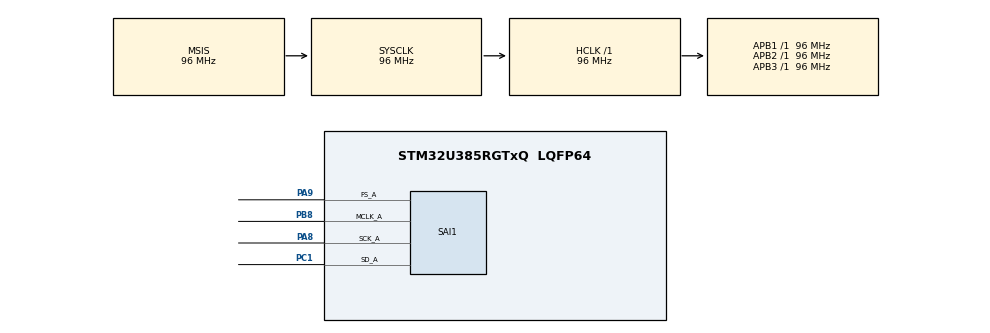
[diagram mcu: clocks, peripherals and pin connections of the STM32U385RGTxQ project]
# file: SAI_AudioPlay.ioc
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CORTEX_M33_NS.userName=CORTEX_M33
GPDMA1.CIRCULARMODE_GPDMACH0=ENABLE
GPDMA1.DESTDATAWIDTH_GPDMACH0=DMA_DEST_DATAWIDTH_HALFWORD
GPDMA1.DIRECTION_GPDMACH0=DMA_MEMORY_TO_PERIPH
GPDMA1.DMAHANDLE_GPDMACH0=hdmatx
GPDMA1.IPHANDLE_GPDMACH0-SIMPLEREQUEST_GPDMACH0=__NULL
GPDMA1.PRIORITY_LL_CIRCULAR_GPDMACH0=DMA_LOW_PRIORITY_HIGH_WEIGHT
GPDMA1.REQUEST_GPDMACH0=GPDMA1_REQUEST_SAI1_A
GPDMA1.SRCDATAWIDTH_GPDMACH0=DMA_SRC_DATAWIDTH_HALFWORD
GPDMA1.SRCINC_GPDMACH0=DMA_SINC_INCREMENTED
GPDMA1.TRANSFERALLOCATEDPORTDEST_GPDMACH0=DMA_DEST_ALLOCATED_PORT1
Mcu.Family=STM32U3
Mcu.Name=STM32U385RGTxQ
Mcu.Package=LQFP64
NVIC.GPDMA1_Channel0_IRQn=true\:0\:0\:false\:false\:true\:false\:true\:true
NVIC.PriorityGroup=NVIC_PRIORITYGROUP_4
NVIC.SAI1_IRQn=true\:0\:0\:false\:false\:true\:true\:true\:true
PA8.GPIO_PuPd=GPIO_PULLDOWN
PA8.GPIO_Speed=GPIO_SPEED_FREQ_HIGH
PA8.Mode=SAI_A_MasterWithClock
PA8.Signal=SAI1_SCK_A
PA9.GPIO_PuPd=GPIO_PULLDOWN
PA9.GPIO_Speed=GPIO_SPEED_FREQ_HIGH
PA9.Mode=SAI_A_MasterWithClock
PA9.Signal=SAI1_FS_A
PB8.GPIO_PuPd=GPIO_PULLDOWN
PB8.GPIO_Speed=GPIO_SPEED_FREQ_HIGH
PB8.Mode=SAI_A_MasterWithClock
PB8.Signal=SAI1_MCLK_A
PC1.GPIO_PuPd=GPIO_PULLDOWN
PC1.GPIO_Speed=GPIO_SPEED_FREQ_HIGH
PC1.Mode=SAI_A_MasterWithClock
PC1.Signal=SAI1_SD_A
ProjectManager.HeapSize=0x200
ProjectManager.StackSize=0x400
ProjectManager.TargetToolchain=EWARM V9.20
RCC.ADCFreq_Value=96000000
RCC.AHBFreq_Value=96000000
RCC.APB1Freq_Value=96000000
RCC.APB1TimFreq_Value=96000000
RCC.APB2Freq_Value=96000000
RCC.APB2TimFreq_Value=96000000
RCC.APB3Freq_Value=96000000
RCC.CortexFreq_Value=12000000
RCC.HCLKFreq_Value=96000000
RCC.HSE_VALUE=16000000
RCC.HSI48_VALUE=48000000
RCC.HSI_VALUE=16000000
RCC.LSE_VALUE=32768
RCC.LSIDIV_VALUE=32000
RCC.MSIKDIV=RCC_MSI_DIV8
RCC.MSISDIV=RCC_MSI_DIV1
RCC.SYSCLKFreq_VALUE=96000000
RCC.USBFreq_Value=96000000
SAI1.ActiveFrameLength-SAI_A_MasterWithClock=16
SAI1.AudioFrequency-SAI_A_MasterWithClock=SAI_AUDIO_FREQUENCY_44K
SAI1.DataSize-SAI_A_MasterWithClock=SAI_DATASIZE_16
SAI1.ErrorAudioFreq-SAI_A_MasterWithClock=6.29 %
SAI1.FIFOThreshold-SAI_A_MasterWithClock=SAI_FIFOTHRESHOLD_1QF
SAI1.FSDefinition-SAI_A_MasterWithClock=SAI_FS_CHANNEL_IDENTIFICATION
SAI1.FSOffset-SAI_A_MasterWithClock=SAI_FS_BEFOREFIRSTBIT
SAI1.FrameLength-SAI_A_MasterWithClock=32
SAI1.Instance-SAI_A_MasterWithClock=SAI$Index_Block_A
SAI1.MckOutput-SAI_A_MasterWithClock=SAI_MCK_OUTPUT_ENABLE
SAI1.RealAudioFreq-SAI_A_MasterWithClock=46.875 KHz
SAI1.SlotActive-SAI_A_MasterWithClock=0x0000FFFF
SAI1.SlotNumber-SAI_A_MasterWithClock=2
SAI1.VirtualMode-SAI_A_MasterWithClock=VM_MASTER
SAI1.VirtualSlotActive-SAI_A_MasterWithClock=SAI_SLOTACTIVE_ALL
VP_GPDMA1_VS_GPDMACH0.Mode=SIMPLEREQUEST_GPDMACH0
VP_ICACHE_VS_ICACHE.Mode=DirectMappedCache
VP_PWR_VS_DBSignals.Mode=DisableDeadBatterySignals
VP_PWR_VS_LPOM.Mode=PowerOptimisation
VP_PWR_VS_SECSignals.Mode=Security/Privilege
board=custom

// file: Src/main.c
/* USER CODE BEGIN Header */
/**
  ******************************************************************************
  * @file           : main.c
  * @brief          : Main program body
  ******************************************************************************
  * @attention
  *
  * Copyright (c) 2024 STMicroelectronics.
  * All rights reserved.
  *
  * This software is licensed under terms that can be found in the LICENSE file
  * in the root directory of this software component.
  * If no LICENSE file comes with this software, it is provided AS-IS.
  *
  ******************************************************************************
  */
/* USER CODE END Header */
#include "main.h"

/* USER CODE BEGIN Includes */
#include "stm32u3xx_nucleo.h"
#include "stm32u3xx_nucleo_bus.h"
#include "audio.h"
#include "sta350bw.h"
/* USER CODE END Includes */

/* USER CODE BEGIN PD */
#define AUDIO_FILE_ADDRESS   0x08080000U
#define AUDIO_FILE_SIZE      0x40000U
#define PLAY_HEADER          0x2CU
#define PLAY_BUFF_SIZE       3528U

#define SAT350BW_I2C_ADDRESS (uint8_t) 0x38U
/* USER CODE END PD */

SAI_HandleTypeDef hsai_BlockA1;
DMA_NodeTypeDef Node_GPDMA1_Channel0;
DMA_QListTypeDef List_GPDMA1_Channel0;
DMA_HandleTypeDef handle_GPDMA1_Channel0;

/* USER CODE BEGIN PV */
/* 40ms of PCM stereo data at 44.1KHz */
uint16_t PlayBuff[PLAY_BUFF_SIZE];

/* Pointer on buffer address */
__IO int16_t UpdatePointer = -1;

/* Audio component */
static AUDIO_Drv_t *AudioDrv = NULL;
void  *AudioCompObj;
/* USER CODE END PV */

void SystemClock_Config(void);
static void MX_GPIO_Init(void);
static void MX_GPDMA1_Init(void);
static void MX_ICACHE_Init(void);
static void MX_SAI1_Init(void);
/* USER CODE BEGIN PFP */
static int32_t STA350BW_Probe(void);
/* USER CODE END PFP */

int main(void)
{

  /* USER CODE BEGIN 1 */
  uint32_t i;
  uint32_t PlaybackPosition = PLAY_BUFF_SIZE + PLAY_HEADER;
  /* USER CODE END 1 */

  /* MCU Configuration--------------------------------------------------------*/

  /* Reset of all peripherals, Initializes the Flash interface and the Systick. */
  HAL_Init();

  /* Configure the system clock */
  SystemClock_Config();

  /* USER CODE BEGIN SysInit */
  if (BSP_ERROR_NONE != BSP_LED_Init(LED_GREEN))
  {
    Error_Handler();
  }

  /* Check if the audio file has been loaded in flash */
  if(*((uint64_t *)AUDIO_FILE_ADDRESS) != 0x0003FFF846464952 )
  {
    Error_Handler();
  }
  /* USER CODE END SysInit */

  /* Initialize all configured peripherals */
  MX_GPIO_Init();
  MX_GPDMA1_Init();
  MX_ICACHE_Init();
  MX_SAI1_Init();
  /* USER CODE BEGIN 2 */
  /* Probe audio compoanent */
  if (STA350BW_Probe() != BSP_ERROR_NONE)
  {
    Error_Handler();
  }

  /* Initialize the codec internal registers */
  if (AudioDrv->Init(AudioCompObj, NULL) < 0)
  {
    Error_Handler();
  }

  /* Set frequency on audio codec */
  if (AudioDrv->SetFrequency(AudioCompObj, 44100U) < 0)
  {
    Error_Handler();
  }

  /* Initialize the data buffer */
  for(int i=0; i < PLAY_BUFF_SIZE; i+=2)
  {
    PlayBuff[i]=*((__IO uint16_t *)(AUDIO_FILE_ADDRESS + PLAY_HEADER + i));
  }

  /* Start SAI transmit */
  if(HAL_OK != HAL_SAI_Transmit_DMA(&hsai_BlockA1, (uint8_t *)PlayBuff, PLAY_BUFF_SIZE))
  {
    Error_Handler();
  }
  /* USER CODE END 2 */

  /* Infinite loop */
  /* USER CODE BEGIN WHILE */
  while (1)
  {
    /* Wait a callback event */
    while (UpdatePointer == -1);

    int position = UpdatePointer;
    UpdatePointer = -1;

    /* Update the first or the second part of the buffer */
    for (i = 0; i < PLAY_BUFF_SIZE/2; i++)
    {
      PlayBuff[i+position] = *(uint16_t *)(AUDIO_FILE_ADDRESS + PlaybackPosition);
      PlaybackPosition+=2;
    }

    /* check the end of the file */
    if ((PlaybackPosition + PLAY_BUFF_SIZE/2) > AUDIO_FILE_SIZE)
    {
      PlaybackPosition = PLAY_HEADER;
    }

    if(UpdatePointer != -1)
    {
      /* Buffer update time is too long compare to the data transfer time */
      Error_Handler();
    }
    /* USER CODE END WHILE */

  }
}

void SystemClock_Config(void)
{
  RCC_OscInitTypeDef RCC_OscInitStruct = {0};
  RCC_ClkInitTypeDef RCC_ClkInitStruct = {0};

  /** Enable Epod Booster
  */
  if (HAL_RCCEx_EpodBoosterClkConfig(RCC_EPODBOOSTER_SOURCE_MSIS, RCC_EPODBOOSTER_DIV1) != HAL_OK)
  {
    Error_Handler();
  }

  if (HAL_PWREx_EnableEpodBooster() != HAL_OK)
  {
    Error_Handler();
  }

  /** Configure the main internal regulator output voltage
  */
  if (HAL_PWREx_ControlVoltageScaling(PWR_REGULATOR_VOLTAGE_SCALE1) != HAL_OK)
  {
    Error_Handler();
  }

  /** Set Flash latency before increasing MSIS
  */
  __HAL_FLASH_SET_LATENCY(FLASH_LATENCY_2);

  /** Initializes the CPU, AHB and APB buses clocks
  */
  RCC_OscInitStruct.OscillatorType = RCC_OSCILLATORTYPE_MSIS|RCC_OSCILLATORTYPE_MSIK;
  RCC_OscInitStruct.MSISState = RCC_MSI_ON;
  RCC_OscInitStruct.MSISSource = RCC_MSI_RC0;
  RCC_OscInitStruct.MSISDiv = RCC_MSI_DIV1;
  RCC_OscInitStruct.MSIKState = RCC_MSI_ON;
  RCC_OscInitStruct.MSIKSource = RCC_MSI_RC0;
  RCC_OscInitStruct.MSIKDiv = RCC_MSI_DIV8;

  if (HAL_RCC_OscConfig(&RCC_OscInitStruct) != HAL_OK)
  {
    Error_Handler();
  }

  /** Initializes the CPU, AHB and APB buses clocks
  */
  RCC_ClkInitStruct.ClockType = RCC_CLOCKTYPE_HCLK|RCC_CLOCKTYPE_SYSCLK
                              |RCC_CLOCKTYPE_PCLK1|RCC_CLOCKTYPE_PCLK2
                              |RCC_CLOCKTYPE_PCLK3;
  RCC_ClkInitStruct.SYSCLKSource = RCC_SYSCLKSOURCE_MSIS;
  RCC_ClkInitStruct.AHBCLKDivider = RCC_SYSCLK_DIV1;
  RCC_ClkInitStruct.APB1CLKDivider = RCC_HCLK_DIV1;
  RCC_ClkInitStruct.APB2CLKDivider = RCC_HCLK_DIV1;
  RCC_ClkInitStruct.APB3CLKDivider = RCC_HCLK_DIV1;

  if (HAL_RCC_ClockConfig(&RCC_ClkInitStruct, FLASH_LATENCY_2) != HAL_OK)
  {
    Error_Handler();
  }
}

static void MX_GPDMA1_Init(void)
{

  /* Peripheral clock enable */
  __HAL_RCC_GPDMA1_CLK_ENABLE();

  /* GPDMA1 interrupt Init */
    HAL_NVIC_SetPriority(GPDMA1_Channel0_IRQn, 0, 0);
    HAL_NVIC_EnableIRQ(GPDMA1_Channel0_IRQn);

}

static void MX_ICACHE_Init(void)
{

  /** Enable instruction cache in 1-way (direct mapped cache)
  */
  if (HAL_ICACHE_ConfigAssociativityMode(ICACHE_1WAY) != HAL_OK)
  {
    Error_Handler();
  }
  if (HAL_ICACHE_Enable() != HAL_OK)
  {
    Error_Handler();
  }

}

static void MX_SAI1_Init(void)
{

  hsai_BlockA1.Instance = SAI1_Block_A;
  hsai_BlockA1.Init.Protocol = SAI_FREE_PROTOCOL;
  hsai_BlockA1.Init.AudioMode = SAI_MODEMASTER_TX;
  hsai_BlockA1.Init.DataSize = SAI_DATASIZE_16;
  hsai_BlockA1.Init.FirstBit = SAI_FIRSTBIT_MSB;
  hsai_BlockA1.Init.ClockStrobing = SAI_CLOCKSTROBING_FALLINGEDGE;
  hsai_BlockA1.Init.Synchro = SAI_ASYNCHRONOUS;
  hsai_BlockA1.Init.OutputDrive = SAI_OUTPUTDRIVE_DISABLE;
  hsai_BlockA1.Init.NoDivider = SAI_MASTERDIVIDER_ENABLE;
  hsai_BlockA1.Init.FIFOThreshold = SAI_FIFOTHRESHOLD_1QF;
  hsai_BlockA1.Init.AudioFrequency = SAI_AUDIO_FREQUENCY_44K;
  hsai_BlockA1.Init.SynchroExt = SAI_SYNCEXT_DISABLE;
  hsai_BlockA1.Init.MckOutput = SAI_MCK_OUTPUT_ENABLE;
  hsai_BlockA1.Init.MonoStereoMode = SAI_STEREOMODE;
  hsai_BlockA1.Init.CompandingMode = SAI_NOCOMPANDING;
  hsai_BlockA1.Init.TriState = SAI_OUTPUT_NOTRELEASED;
  hsai_BlockA1.Init.PdmInit.Activation = DISABLE;
  hsai_BlockA1.Init.PdmInit.MicPairsNbr = 1;
  hsai_BlockA1.Init.PdmInit.ClockEnable = SAI_PDM_CLOCK1_ENABLE;
  hsai_BlockA1.FrameInit.FrameLength = 32;
  hsai_BlockA1.FrameInit.ActiveFrameLength = 16;
  hsai_BlockA1.FrameInit.FSDefinition = SAI_FS_CHANNEL_IDENTIFICATION;
  hsai_BlockA1.FrameInit.FSPolarity = SAI_FS_ACTIVE_LOW;
  hsai_BlockA1.FrameInit.FSOffset = SAI_FS_BEFOREFIRSTBIT;
  hsai_BlockA1.SlotInit.FirstBitOffset = 0;
  hsai_BlockA1.SlotInit.SlotSize = SAI_SLOTSIZE_DATASIZE;
  hsai_BlockA1.SlotInit.SlotNumber = 2;
  hsai_BlockA1.SlotInit.SlotActive = 0x0000FFFF;
  if (HAL_SAI_Init(&hsai_BlockA1) != HAL_OK)
  {
    Error_Handler();
  }

}

static void MX_GPIO_Init(void)
{

  /* GPIO Ports Clock Enable */
  __HAL_RCC_GPIOC_CLK_ENABLE();
  __HAL_RCC_GPIOA_CLK_ENABLE();
  __HAL_RCC_GPIOB_CLK_ENABLE();

}

/* USER CODE BEGIN 4 */
/**
  * @brief Tx Transfer completed callbacks.
  * @param  hsai : pointer to a SAI_HandleTypeDef structure that contains
  *                the configuration information for SAI module.
  * @retval None
  */
void HAL_SAI_TxCpltCallback(SAI_HandleTypeDef *hsai)
{
  UpdatePointer = PLAY_BUFF_SIZE/2;
}

/**
  * @brief Tx Transfer Half completed callbacks
  * @param  hsai : pointer to a SAI_HandleTypeDef structure that contains
  *                the configuration information for SAI module.
  * @retval None
  */
void HAL_SAI_TxHalfCpltCallback(SAI_HandleTypeDef *hsai)
{
  UpdatePointer = 0;
}

/**
  * @brief  Register Bus IOs if component ID is OK
  * @retval error status
  */
static int32_t STA350BW_Probe(void)
{
  int32_t                   ret = BSP_ERROR_NONE;
  STA350BW_IO_t             IOCtx;
  static STA350BW_Object_t  STA350BWObj;
  GPIO_InitTypeDef          gpio_init_structure;

  /* Reset STA350BW */
  __HAL_RCC_GPIOC_CLK_ENABLE();
  gpio_init_structure.Pin   = GPIO_PIN_8;
  gpio_init_structure.Mode  = GPIO_MODE_OUTPUT_PP;
  gpio_init_structure.Speed = GPIO_SPEED_FREQ_HIGH;
  gpio_init_structure.Pull  = GPIO_PULLUP;
  HAL_GPIO_Init(GPIOC, &gpio_init_structure);
  HAL_GPIO_WritePin(GPIOC, GPIO_PIN_8, GPIO_PIN_RESET);
  HAL_Delay(100);
  HAL_GPIO_WritePin(GPIOC, GPIO_PIN_8, GPIO_PIN_SET);

  /* Configure the audio driver */
  IOCtx.Address     = SAT350BW_I2C_ADDRESS;
  IOCtx.Init        = BSP_I2C1_Init;
  IOCtx.DeInit      = BSP_I2C1_DeInit;
  IOCtx.ReadReg     = BSP_I2C1_ReadReg;
  IOCtx.WriteReg    = BSP_I2C1_WriteReg;
  IOCtx.GetTick     = BSP_GetTick;
  IOCtx.BusType     = 0;

  if (STA350BW_RegisterBusIO(&STA350BWObj, &IOCtx) != STA350BW_OK)
  {
    ret = BSP_ERROR_BUS_FAILURE;
  }
  else
  {
    AudioDrv = (AUDIO_Drv_t *) &STA350BW_AUDIO_Driver;
    AudioCompObj = &STA350BWObj;
  }

  return ret;
}
/* USER CODE END 4 */

void Error_Handler(void)
{
  /* USER CODE BEGIN Error_Handler_Debug */
  /* User can add his own implementation to report the HAL error return state */
  while (1)
  {
    /* Toggle green led for error */
    (void) BSP_LED_Toggle(LED_GREEN);
    HAL_Delay(500);
  }
  /* USER CODE END Error_Handler_Debug */
}
